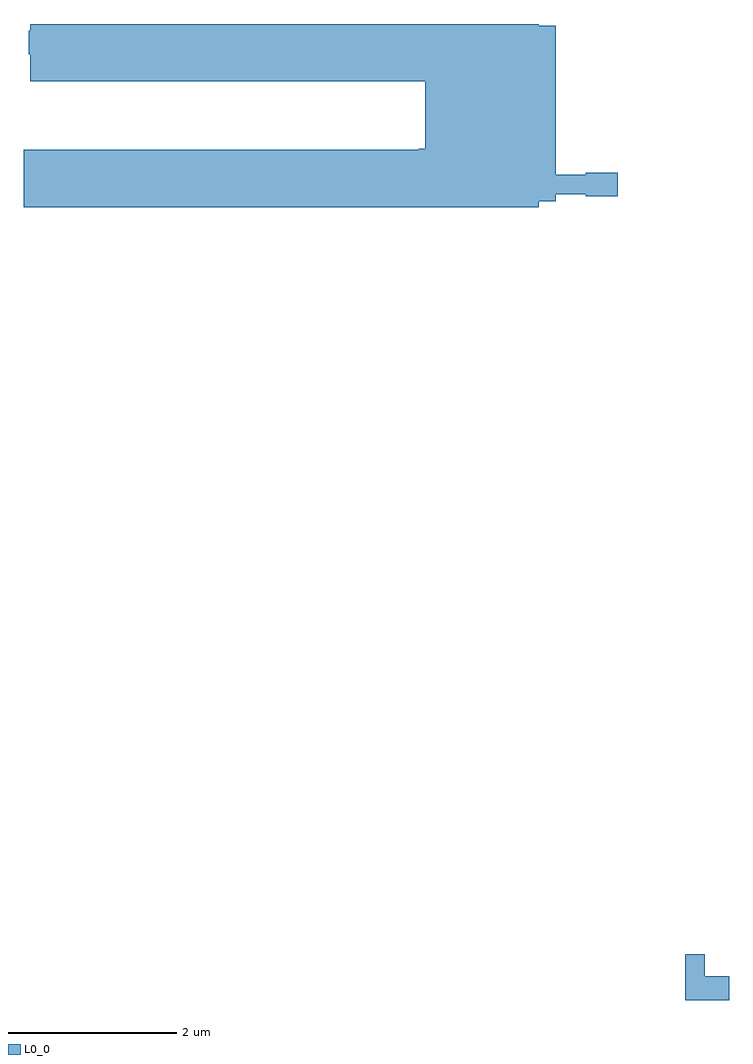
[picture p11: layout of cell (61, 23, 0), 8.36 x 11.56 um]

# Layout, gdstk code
import gdstk
lib = gdstk.Library(unit=1e-6, precision=1e-09)
def P(c, l, *ps):  # polygons
    for p in ps: c.add(gdstk.Polygon(p, *l))
L0_0 = (0, 0)

c__61__23__0_ = lib.new_cell('(61, 23, 0)')
P(c__61__23__0_, L0_0, [(984.86,919.38),(985.24,919.38),(985.24,919.1),(984.86,919.1),(984.86,919.38)],
  [(990.99,917.675),(991.765,917.675),(991.765,917.445),(990.99,917.445),(990.99,917.675)],
  [(991.46,917.7),(991.84,917.7),(991.84,917.42),(991.46,917.42),(991.46,917.7)],
  [(984.8,917.97),(989.48,917.97),(989.48,917.98),(989.555,917.98),(989.555,918.78),(984.88,918.78),(984.88,919.46),(990.9,919.46),(990.9,919.44),(991.105,919.44),(991.105,917.36),(990.9,917.36),(990.9,917.29),(984.8,917.29),(984.8,917.97)],
  [(992.635,908.44),(992.865,908.44),(992.865,908.18),(993.155,908.18),(993.155,907.9),(992.635,907.9),(992.635,908.44)],
  [(992.78,908.18),(993.16,908.18),(993.16,907.9),(992.78,907.9),(992.78,908.18)],
  [(984.86,919.38),(985.24,919.38),(985.24,919.1),(984.86,919.1),(984.86,919.38)],
  [(984.8,917.97),(989.48,917.97),(989.48,917.98),(989.555,917.98),(989.555,918.78),(984.88,918.78),(984.88,919.46),(990.9,919.46),(990.9,919.44),(991.105,919.44),(991.105,917.36),(990.9,917.36),(990.9,917.29),(984.8,917.29),(984.8,917.97)])

lib.write_gds('_61__23__0_.gds')
